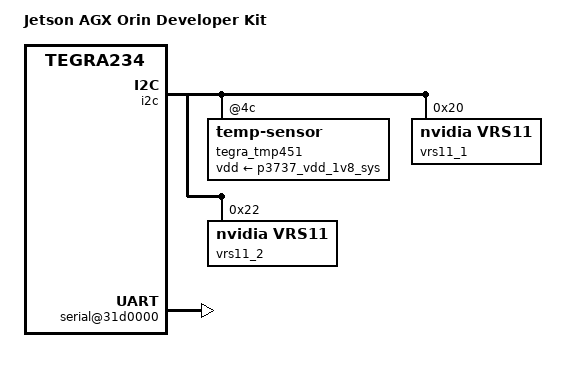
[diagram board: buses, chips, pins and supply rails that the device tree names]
/*
 * Top level DTS file for CVM:P3701-0000 and CVB:P3737-0000.
 *
 * Copyright (c) 2021-2023, NVIDIA CORPORATION.  All rights reserved.
 *
 * This program is free software; you can redistribute it and/or modify
 * it under the terms of the GNU General Public License as published by
 * the Free Software Foundation; version 2 of the License.
 *
 * This program is distributed in the hope that it will be useful, but WITHOUT
 * ANY WARRANTY; without even the implied warranty of MERCHANTABILITY or
 * FITNESS FOR A PARTICULAR PURPOSE.  See the GNU General Public License for
 * more details.
 */

/dts-v1/;
#include "tegra234-p3701-0000-prod.dtsi"
#include "cvm/tegra234-p3701-0000.dtsi"
#include "cvb/tegra234-p3737-0000-a04.dtsi"
#include "tegra234-power-tree-p3701-0000-p3737-0000.dtsi"
#include "tegra234-dcb-p3701-0000-a02-p3737-0000-a01.dtsi"
#include <tegra234-soc/mods-simple-bus.dtsi>
#include "cvb/tegra234-p3737-camera-modules.dtsi"
#include <t234-common-cvb/tegra234-pwm.dtsi>
#include <t234-common-cvm/tegra234-cpuidle.dtsi>
#include <t234-common-cvm/tegra234-thermal.dtsi>
#include <t234-common-cvm/tegra234-thermal-cooling.dtsi>
#include <t234-common-cvm/tegra234-thermal-userspace-alert.dtsi>
#include <tegra234-soc/tegra234-soc-hwpm.dtsi>

/ {
	nvidia,dtsfilename = __FILE__;
	nvidia,dtbbuildtime = __DATE__, __TIME__;

	compatible = "nvidia,p3737-0000+p3701-0000", "nvidia,p3701-0000", "nvidia,tegra234", "nvidia,tegra23x";
	model = "Jetson AGX Orin Developer Kit";

	nvsciipc-kernel {
		compatible = "nvidia,nvsciipc";
		status = "okay";
	};

	firmware {
		android {
			compatible = "android,firmware";
			first_stage_delay = "1";
			system_root_blkdev = "/dev/mmcblk0p1";
			fstab {
				compatible = "android,fstab";
				vendor {
					compatible = "android,vendor";
					dev = "/dev/block/platform/3460000.sdhci/by-name/vendor";
					type = "ext4";
					mnt_flags = "ro,noatime";
					fsmgr_flags = "wait";
				};
			};
		};
	};

	display@13800000 {
		status = "okay";
	};

	dce@d800000 {
		status = "okay";
	};

	bpmp {
		i2c {
			tegra_tmp451: temp-sensor@4c {
				vdd-supply = <&p3737_vdd_1v8_sys>;

				ext {
					shutdown-limit = <107>;
				};
			};

			vrs11_1@20 {
				compatible = "nvidia,vrs11";
				reg = <0x20>;
				rail-name-loopA = "GPU";
				rail-name-loopB = "CPU";
				status = "okay";
			};

			vrs11_2@22 {
				compatible = "nvidia,vrs11";
				reg = <0x22>;
				rail-name-loopA = "SOC";
				rail-name-loopB = "CV";
				status = "okay";
			};
		};
	};

	reserved-memory {
		linux,cma {
			status = "okay";
		};
	};

	tegra_soc_hwpm {
                status = "okay";
        };

	tegra-hsp@3d00000 {
		status = "okay";
	};

	aon@c000000 {
		status = "okay";
	};

	cpu_alert: cpu-throttle-alert {
		status = "okay";
	};

	gpu_alert: gpu-throttle-alert {
		status = "okay";
	};

	cv0_alert: cv0-throttle-alert {
		status = "okay";
	};

	cv1_alert: cv1-throttle-alert {
		status = "okay";
	};

	cv2_alert: cv2-throttle-alert {
		status = "okay";
	};

	soc0_alert: soc0-throttle-alert {
		status = "okay";
	};

	soc1_alert: soc1-throttle-alert {
		status = "okay";
	};

	soc2_alert: soc2-throttle-alert {
		status = "okay";
	};

	hot_surface_alert: hot-surface-alert {
		status = "okay";
	};

	stm@24080000 {
		status = "disabled";
	};

	cpu0_etm@27040000 {
		status = "disabled";
	};

	cpu1_etm@27140000 {
		status = "disabled";
	};

	cpu2_etm@27240000 {
		status = "disabled";
	};

	cpu3_etm@27340000 {
		status = "disabled";
	};

	cpu4_etm@27440000 {
		status = "disabled";
	};

	cpu5_etm@27540000 {
		status = "disabled";
	};

	cpu6_etm@27640000 {
		status = "disabled";
	};

	cpu7_etm@27740000 {
		status = "disabled";
	};

	cpu8_etm@27840000 {
		status = "disabled";
	};

	cpu9_etm@27940000 {
		status = "disabled";
	};

	cpu10_etm@27A40000 {
		status = "disabled";
	};

	cpu11_etm@27B40000 {
		status = "disabled";
	};

	funnel_ccplex0@26030000 {
		status = "disabled";
	};

	funnel_ccplex1@26040000 {
		status = "disabled";
	};

	funnel_ccplex2@26050000 {
		status = "disabled";
	};

	funnel_top_ccplex@26020000 {
		status = "disabled";
	};

	funnel_major@24040000 {
		status = "disabled";
	};

	replicator@24060000 {
		status = "disabled";
	};

	etf@24050000 {
		status = "disabled";
	};

	etr@24070000 {
		status = "disabled";
	};

	serial@31d0000 {
		status = "okay";
	};
};
